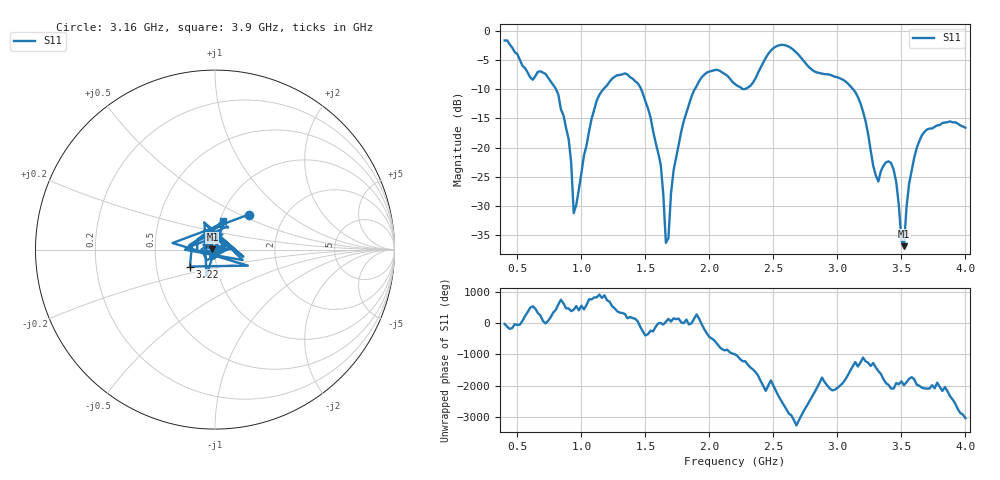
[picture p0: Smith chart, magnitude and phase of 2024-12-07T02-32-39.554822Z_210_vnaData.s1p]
!Created with skrf (http://scikit-rf.org).
# Hz S RI R 50.0
!freq ReS11 ImS11
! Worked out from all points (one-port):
!   181 points, 400 MHz to 4 GHz, reference 50 ohm
!   lowest |S11| = -36.8 dB at 3.52 GHz (marker M1), VSWR 1.03, Z = 48.6 + j0.248 ohm
!   |S11| at or under -10 dB: 801.1 MHz to 1.173 GHz (371.8 MHz wide, 37.7 % of centre); 1.466 GHz to 1.886 GHz (420.3 MHz wide, 25.1 % of centre); 3.121 GHz to end of sweep (the widest 3 of 4)
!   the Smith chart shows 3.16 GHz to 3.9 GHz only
!   S11 on the Smith chart (normalised r, x): 3.16 GHz: 1.33, +0.56; 3.22 GHz: 0.74, -0.14; 3.9 GHz: 1.04, +0.34
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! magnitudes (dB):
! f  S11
! 400 MHz  -1.7
! 620 MHz  -8.4
! 720 MHz  -7.4
! 860 MHz  -14.5
! 920 MHz  -22.5
! 940 MHz  -31.2
! 1.12 GHz  -11.9
! 1.3 GHz  -7.6
! 1.44 GHz  -9.0
! 1.54 GHz  -14.8
! 1.62 GHz  -22.9
! 1.66 GHz  -36.3
! 1.68 GHz  -35.4
! 1.7 GHz  -27.8
! 1.76 GHz  -19.5
! 1.94 GHz  -8.0
! 2.2 GHz  -9.1
! 2.66 GHz  -3.4
! 3.1 GHz  -9.5
! 3.16 GHz  -11.4
! 3.22 GHz  -15.5
! 3.32 GHz  -25.8
! 3.44 GHz  -23.8
! 3.52 GHz  -36.8
! 3.56 GHz  -26.2
! 3.66 GHz  -17.9
! 3.9 GHz  -15.7
! 4 GHz  -16.6
